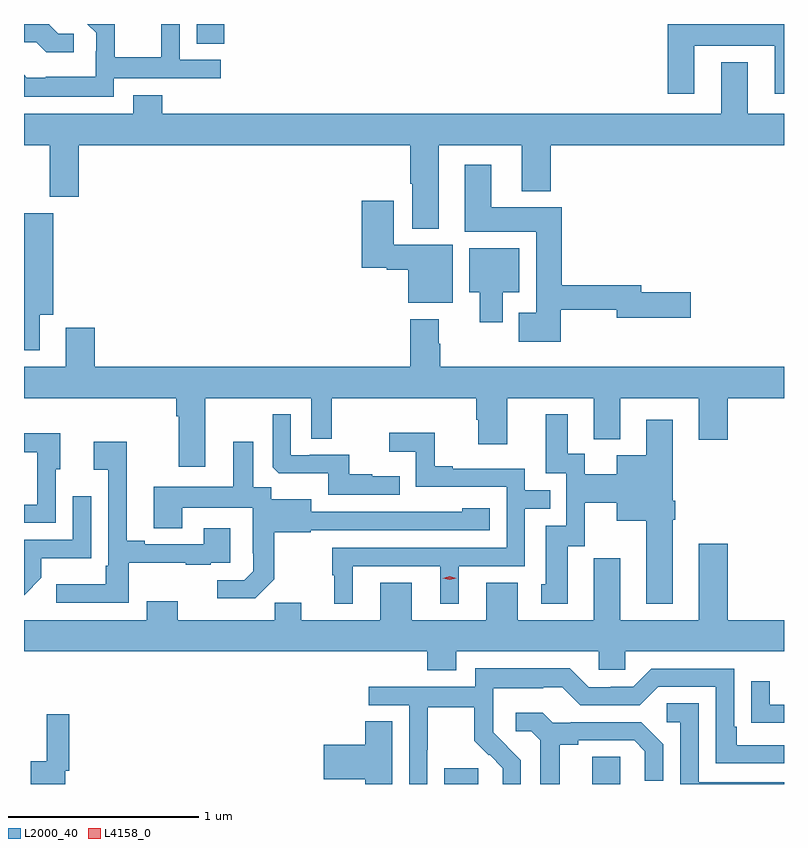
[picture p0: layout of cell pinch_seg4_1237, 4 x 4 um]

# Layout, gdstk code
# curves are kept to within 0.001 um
import gdstk
lib = gdstk.Library(unit=1e-6, precision=1e-09)
def R(c, l, rs):  # rectangles x0, y0, x1, y1
    for r in rs: c.add(gdstk.rectangle(r[:2], r[2:], *l))
def P(c, l, *ps):  # polygons
    for p in ps: c.add(gdstk.Polygon(p, *l))
L2000_40 = (2000, 40)
L4158_0 = (4158, 0)

pinch_seg4_1237 = lib.new_cell('pinch_seg4_1237')
R(pinch_seg4_1237, L2000_40, [(266.555,764.153,266.734,764.235), (267.335,764.153,267.48,764.297), (265.253,768.049,265.397,768.153)])
P(pinch_seg4_1237, L2000_40, [(267.871,768.038),(268.295,768.038),(268.295,767.787),(268.343,767.787),(268.343,768.153),(267.731,768.153),(267.731,767.787),(267.871,767.787)],
  [(264.816,767.868),(265.378,767.868),(265.378,767.964),(265.164,767.964),(265.164,768.153),(265.066,768.153),(265.066,767.977),(264.821,767.977),(264.821,768.151),(264.819,768.153),(264.675,768.153),(264.722,768.106),(264.722,768.009),(264.72,768.009),(264.72,767.875),(264.457,767.875),(264.457,767.871),(264.357,767.871),(264.343,767.885),(264.343,767.771),(264.816,767.771)],
  [(264.604,768.102),(264.522,768.102),(264.475,768.149),(264.475,768.153),(264.343,768.153),(264.343,768.057),(264.408,768.057),(264.46,768.005),(264.604,768.005)],
  [(266.527,767.516),(266.963,767.516),(266.963,767.273),(267.116,767.273),(267.116,767.516),(268.343,767.516),(268.343,767.68),(268.153,767.68),(268.153,767.953),(268.013,767.953),(268.013,767.68),(265.07,767.68),(265.07,767.779),(264.917,767.779),(264.917,767.68),(264.343,767.68),(264.343,767.516),(264.479,767.516),(264.479,767.243),(264.632,767.243),(264.632,767.516),(266.375,767.516),(266.375,767.311),(266.387,767.311),(266.387,767.075),(266.527,767.075)],
  [(267.168,766.65),(267.464,766.65),(267.464,766.607),(267.853,766.607),(267.853,766.742),(267.592,766.742),(267.592,766.778),(267.173,766.778),(267.173,767.188),(266.803,767.188),(266.803,767.413),(266.663,767.413),(266.663,767.06),(267.038,767.06),(267.038,766.633),(266.948,766.633),(266.948,766.481),(267.168,766.481)],
  [(266.599,766.99),(266.29,766.99),(266.29,767.224),(266.12,767.224),(266.12,766.871),(266.253,766.871),(266.253,766.859),(266.366,766.859),(266.366,766.685),(266.599,766.685)],
  [(264.427,766.622),(264.496,766.622),(264.496,767.158),(264.343,767.158),(264.343,766.437),(264.427,766.437)],
  [(266.863,766.742),(266.95,766.742),(266.95,766.972),(266.687,766.972),(266.687,766.742),(266.741,766.742),(266.741,766.584),(266.863,766.584)],
  [(266.375,766.6),(266.375,766.348),(264.716,766.348),(264.716,766.555),(264.563,766.555),(264.563,766.348),(264.343,766.348),(264.343,766.184),(265.145,766.184),(265.145,766.088),(265.157,766.088),(265.157,765.822),(265.297,765.822),(265.297,766.184),(265.854,766.184),(265.854,765.97),(265.963,765.97),(265.963,766.184),(266.723,766.184),(266.723,766.071),(266.735,766.071),(266.735,765.942),(266.887,765.942),(266.887,766.184),(267.341,766.184),(267.341,765.968),(267.481,765.968),(267.481,766.184),(267.893,766.184),(267.893,765.966),(268.046,765.966),(268.046,766.184),(268.343,766.184),(268.343,766.348),(266.535,766.348),(266.535,766.469),(266.527,766.469),(266.527,766.6)],
  [(267.757,765.543),(267.77,765.543),(267.77,765.643),(267.757,765.643),(267.757,766.069),(267.617,766.069),(267.617,765.883),(267.464,765.883),(267.464,765.784),(267.295,765.784),(267.295,765.89),(267.205,765.89),(267.205,766.099),(267.089,766.099),(267.089,765.789),(267.198,765.789),(267.198,765.513),(267.089,765.513),(267.089,765.204),(267.065,765.204),(267.065,765.102),(267.205,765.102),(267.205,765.405),(267.294,765.405),(267.294,765.632),(267.464,765.632),(267.464,765.539),(267.617,765.539),(267.617,765.101),(267.757,765.101)],
  [(266.321,765.772),(266.177,765.772),(266.177,765.784),(266.054,765.784),(266.054,765.885),(265.846,765.885),(265.846,765.882),(265.746,765.882),(265.746,766.099),(265.653,766.099),(265.653,765.819),(265.685,765.788),(265.944,765.788),(265.944,765.675),(266.321,765.675)],
  [(266.074,765.3),(266.534,765.3),(266.534,765.101),(266.632,765.101),(266.632,765.3),(266.979,765.3),(266.979,765.603),(267.113,765.603),(267.113,765.699),(266.979,765.699),(266.979,765.813),(266.599,765.813),(266.599,765.826),(266.505,765.826),(266.505,766.001),(266.265,766.001),(266.265,765.902),(266.406,765.902),(266.406,765.717),(266.883,765.717),(266.883,765.396),(265.965,765.396),(265.965,765.252),(265.976,765.252),(265.976,765.101),(266.074,765.101)],
  [(264.51,765.81),(264.535,765.81),(264.535,765.998),(264.343,765.998),(264.343,765.9),(264.414,765.9),(264.414,765.624),(264.343,765.624),(264.343,765.528),(264.51,765.528)],
  [(265.659,765.231),(265.659,765.477),(265.851,765.477),(265.851,765.489),(266.794,765.489),(266.794,765.604),(266.649,765.604),(266.649,765.586),(265.855,765.585),(265.855,765.652),(265.644,765.652),(265.644,765.716),(265.549,765.716),(265.549,765.955),(265.445,765.955),(265.445,765.718),(265.025,765.718),(265.025,765.499),(265.177,765.499),(265.177,765.608),(265.548,765.608),(265.548,765.367),(265.55,765.367),(265.55,765.272),(265.503,765.225),(265.359,765.225),(265.359,765.131),(265.559,765.131)],
  [(264.895,765.317),(265.193,765.317),(265.193,765.306),(265.325,765.306),(265.325,765.318),(265.429,765.318),(265.429,765.499),(265.289,765.499),(265.289,765.414),(264.979,765.414),(264.979,765.433),(264.883,765.433),(264.883,765.955),(264.711,765.955),(264.711,765.806),(264.786,765.806),(264.786,765.301),(264.774,765.301),(264.774,765.205),(264.513,765.205),(264.513,765.108),(264.895,765.108)],
  [(264.435,765.239),(264.435,765.341),(264.696,765.341),(264.696,765.667),(264.6,765.667),(264.6,765.438),(264.343,765.438),(264.343,765.147)],
  [(266.617,764.852),(267.369,764.852),(267.369,764.754),(267.507,764.754),(267.507,764.852),(268.343,764.852),(268.343,765.016),(268.046,765.016),(268.046,765.418),(267.893,765.418),(267.893,765.016),(267.481,765.016),(267.481,765.34),(267.342,765.34),(267.342,765.227),(267.341,765.227),(267.341,765.016),(266.941,765.016),(266.941,765.211),(266.777,765.211),(266.777,765.016),(266.383,765.016),(266.383,765.211),(266.219,765.211),(266.219,765.016),(265.801,765.016),(265.801,765.107),(265.663,765.107),(265.663,765.016),(265.153,765.016),(265.153,765.115),(264.989,765.115),(264.989,765.016),(264.343,765.016),(264.343,764.852),(266.465,764.852),(266.465,764.753),(266.617,764.753)],
  [(266.466,764.332),(266.469,764.332),(266.469,764.556),(266.713,764.556),(266.713,764.381),(266.79,764.304),(266.793,764.307),(266.864,764.237),(266.864,764.153),(266.958,764.153),(266.958,764.278),(266.812,764.426),(266.812,764.523),(266.814,764.523),(266.814,764.657),(267.077,764.657),(267.077,764.661),(267.177,764.661),(267.27,764.568),(267.585,764.568),(267.681,764.664),(267.984,764.664),(267.984,764.262),(268.343,764.262),(268.343,764.358),(268.093,764.358),(268.093,764.455),(268.08,764.455),(268.08,764.76),(267.645,764.76),(267.549,764.664),(267.431,764.664),(267.431,764.661),(267.315,764.661),(267.215,764.761),(266.718,764.761),(266.718,764.664),(266.157,764.664),(266.157,764.568),(266.37,764.568),(266.37,764.153),(266.466,764.153)],
  [(268.343,764.571),(268.267,764.571),(268.267,764.695),(268.171,764.695),(268.171,764.476),(268.273,764.476),(268.273,764.475),(268.343,764.475)],
  [(268.343,764.163),(267.894,764.163),(267.894,764.579),(267.726,764.579),(267.726,764.478),(267.798,764.478),(267.798,764.153),(268.343,764.153)],
  [(267.163,764.36),(267.259,764.36),(267.259,764.382),(267.554,764.382),(267.611,764.325),(267.611,764.169),(267.708,764.169),(267.708,764.362),(267.592,764.478),(267.22,764.478),(267.22,764.475),(267.126,764.475),(267.074,764.527),(266.931,764.527),(266.931,764.43),(267.012,764.43),(267.059,764.383),(267.059,764.153),(267.163,764.153)],
  [(264.561,764.224),(264.581,764.224),(264.581,764.521),(264.464,764.521),(264.464,764.273),(264.378,764.273),(264.378,764.153),(264.561,764.153)],
  [(266.281,764.483),(266.138,764.483),(266.138,764.36),(265.92,764.36),(265.92,764.177),(266.138,764.177),(266.138,764.153),(266.281,764.153)])
P(pinch_seg4_1237, L4158_0, [(266.583,765.227),(266.547,765.236),(266.547,765.237),(266.547,765.237),(266.583,765.247),(266.619,765.237),(266.619,765.237),(266.619,765.237)])

lib.write_gds('pinch_seg4_1237.gds')
